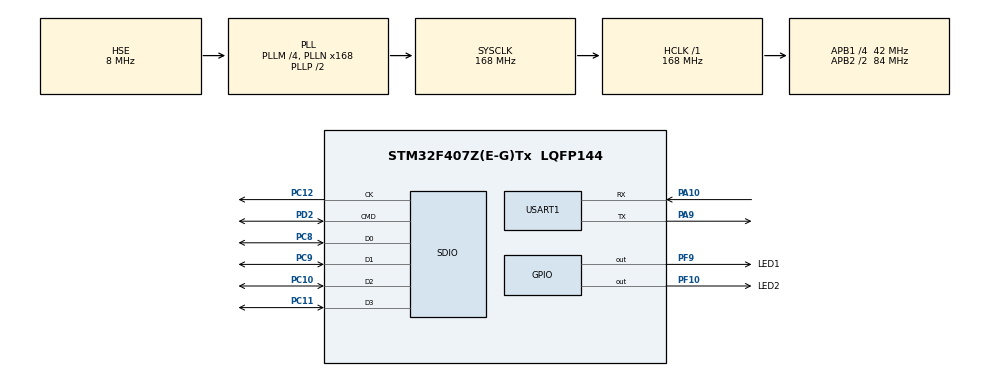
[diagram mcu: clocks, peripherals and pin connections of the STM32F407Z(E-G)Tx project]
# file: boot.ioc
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FATFS.USE_DMA_CODE_SD=0
Mcu.Family=STM32F4
Mcu.Name=STM32F407Z(E-G)Tx
Mcu.Package=LQFP144
NVIC.PriorityGroup=NVIC_PRIORITYGROUP_4
NVIC.USART1_IRQn=true\:0\:0\:false\:false\:true\:true
PA10.Mode=Asynchronous
PA10.Signal=USART1_RX
PA13.Mode=Serial_Wire
PA13.Signal=SYS_JTMS-SWDIO
PA14.Mode=Serial_Wire
PA14.Signal=SYS_JTCK-SWCLK
PA9.Mode=Asynchronous
PA9.Signal=USART1_TX
PC10.Mode=SD_4_bits_Wide_bus
PC10.Signal=SDIO_D2
PC11.Mode=SD_4_bits_Wide_bus
PC11.Signal=SDIO_D3
PC12.Mode=SD_4_bits_Wide_bus
PC12.Signal=SDIO_CK
PC8.Mode=SD_4_bits_Wide_bus
PC8.Signal=SDIO_D0
PC9.Mode=SD_4_bits_Wide_bus
PC9.Signal=SDIO_D1
PD2.Mode=SD_4_bits_Wide_bus
PD2.Signal=SDIO_CMD
PF10.GPIO_Label=LED2
PF10.GPIO_PuPd=GPIO_PULLUP
PF10.PinState=GPIO_PIN_SET
PF10.Signal=GPIO_Output
PF9.GPIO_Label=LED1
PF9.GPIO_PuPd=GPIO_PULLUP
PF9.PinState=GPIO_PIN_SET
PF9.Signal=GPIO_Output
PH0-OSC_IN.Mode=HSE-External-Oscillator
PH0-OSC_IN.Signal=RCC_OSC_IN
PH1-OSC_OUT.Mode=HSE-External-Oscillator
PH1-OSC_OUT.Signal=RCC_OSC_OUT
ProjectManager.HeapSize=0x800
ProjectManager.StackSize=0x800
ProjectManager.TargetToolchain=MDK-ARM V5
RCC.48MHZClocksFreq_Value=48000000
RCC.AHBFreq_Value=168000000
RCC.APB1CLKDivider=RCC_HCLK_DIV4
RCC.APB1Freq_Value=42000000
RCC.APB1TimFreq_Value=84000000
RCC.APB2CLKDivider=RCC_HCLK_DIV2
RCC.APB2Freq_Value=84000000
RCC.APB2TimFreq_Value=168000000
RCC.CortexFreq_Value=168000000
RCC.HCLKFreq_Value=168000000
RCC.HSE_VALUE=8000000
RCC.HSI_VALUE=16000000
RCC.LSE_VALUE=32768
RCC.PLLM=4
RCC.PLLN=168
RCC.PLLQ=7
RCC.PLLSourceVirtual=RCC_PLLSOURCE_HSE
RCC.SYSCLKFreq_VALUE=168000000
RCC.SYSCLKSource=RCC_SYSCLKSOURCE_PLLCLK
RCC.VCOOutputFreq_Value=336000000
USART1.VirtualMode=VM_ASYNC
VP_CRC_VS_CRC.Mode=CRC_Activate
VP_FATFS_VS_SDIO.Mode=SDIO
board=custom

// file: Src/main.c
/**
  ******************************************************************************
  * @file           : main.c
  * @brief          : Main program body
  ******************************************************************************
  * This notice applies to any and all portions of this file
  * that are not between comment pairs USER CODE BEGIN and
  * USER CODE END. Other portions of this file, whether
  * inserted by the user or by software development tools
  * are owned by their respective copyright owners.
  *
  * Copyright (c) 2018 STMicroelectronics International N.V.
  * All rights reserved.
  *
  * Redistribution and use in source and binary forms, with or without
  * modification, are permitted, provided that the following conditions are met:
  *
  * 1. Redistribution of source code must retain the above copyright notice,
  *    this list of conditions and the following disclaimer.
  * 2. Redistributions in binary form must reproduce the above copyright notice,
  *    this list of conditions and the following disclaimer in the documentation
  *    and/or other materials provided with the distribution.
  * 3. Neither the name of STMicroelectronics nor the names of other
  *    contributors to this software may be used to endorse or promote products
  *    derived from this software without specific written permission.
  * 4. This software, including modifications and/or derivative works of this
  *    software, must execute solely and exclusively on microcontroller or
  *    microprocessor devices manufactured by or for STMicroelectronics.
  * 5. Redistribution and use of this software other than as permitted under
  *    this license is void and will automatically terminate your rights under
  *    this license.
  *
  * THIS SOFTWARE IS PROVIDED BY STMICROELECTRONICS AND CONTRIBUTORS "AS IS"
  * AND ANY EXPRESS, IMPLIED OR STATUTORY WARRANTIES, INCLUDING, BUT NOT
  * LIMITED TO, THE IMPLIED WARRANTIES OF MERCHANTABILITY, FITNESS FOR A
  * PARTICULAR PURPOSE AND NON-INFRINGEMENT OF THIRD PARTY INTELLECTUAL PROPERTY
  * RIGHTS ARE DISCLAIMED TO THE FULLEST EXTENT PERMITTED BY LAW. IN NO EVENT
  * SHALL STMICROELECTRONICS OR CONTRIBUTORS BE LIABLE FOR ANY DIRECT, INDIRECT,
  * INCIDENTAL, SPECIAL, EXEMPLARY, OR CONSEQUENTIAL DAMAGES (INCLUDING, BUT NOT
  * LIMITED TO, PROCUREMENT OF SUBSTITUTE GOODS OR SERVICES; LOSS OF USE, DATA,
  * OR PROFITS; OR BUSINESS INTERRUPTION) HOWEVER CAUSED AND ON ANY THEORY OF
  * LIABILITY, WHETHER IN CONTRACT, STRICT LIABILITY, OR TORT (INCLUDING
  * NEGLIGENCE OR OTHERWISE) ARISING IN ANY WAY OUT OF THE USE OF THIS SOFTWARE,
  * EVEN IF ADVISED OF THE POSSIBILITY OF SUCH DAMAGE.
	* aliyun:
  * https://promotion.aliyun.com/ntms/yunparter/invite.html?userCode=qz12zb2f
  ******************************************************************************
  */
#include "main.h"
#include "stm32f4xx_hal.h"
#include "crc.h"
#include "fatfs.h"
#include "sdio.h"
#include "usart.h"
#include "gpio.h"

/* USER CODE BEGIN Includes */
#include "boot.h"
/* USER CODE END Includes */

/* USER CODE BEGIN PV */
/* Private variables ---------------------------------------------------------*/
#define USBD_DFU_APP_DEFAULT_ADD               0x08008000
typedef  void (*pFunction)(void);
pFunction JumpToApplication;
uint32_t JumpAddress;
/* USER CODE END PV */

void SystemClock_Config(void);

/* USER CODE BEGIN PFP */
/* Private function prototypes -----------------------------------------------*/

/* USER CODE END PFP */

/* USER CODE BEGIN 0 */
extern uint8_t SD_STATUS;
/* USER CODE END 0 */

int main(void)
{
  /* USER CODE BEGIN 1 */
	uint32_t temp;
  /* USER CODE END 1 */

  /* MCU Configuration----------------------------------------------------------*/

  /* Reset of all peripherals, Initializes the Flash interface and the Systick. */
  HAL_Init();

  /* Configure the system clock */
  SystemClock_Config();

  /* Initialize all configured peripherals */
  MX_GPIO_Init();
  MX_CRC_Init();
  MX_USART1_UART_Init();
  MX_SDIO_SD_Init();
  MX_FATFS_Init();
  /* USER CODE BEGIN 2 */
	if(SD_STATUS==0)
	{
		boot();
		temp = *(__IO uint32_t*)USBD_DFU_APP_DEFAULT_ADD;
		if(((temp) & 0x2FFC0000 ) == 0x20000000)
		{
			/* Jump to user application */
			JumpAddress = *(__IO uint32_t*) (USBD_DFU_APP_DEFAULT_ADD + 4);
			JumpToApplication = (pFunction) JumpAddress;
			/* Initialize user application's Stack Pointer */
			__set_MSP((*(__IO uint32_t*) USBD_DFU_APP_DEFAULT_ADD ));
			JumpToApplication();
		}
	}

  /* USER CODE END 2 */
	_Log("SD_err");
  /* Infinite loop */
  while (1)
  {

  }

}

void SystemClock_Config(void)
{

  RCC_OscInitTypeDef RCC_OscInitStruct;
  RCC_ClkInitTypeDef RCC_ClkInitStruct;

    /**Configure the main internal regulator output voltage
    */
  __HAL_RCC_PWR_CLK_ENABLE();

  __HAL_PWR_VOLTAGESCALING_CONFIG(PWR_REGULATOR_VOLTAGE_SCALE1);

    /**Initializes the CPU, AHB and APB busses clocks
    */
  RCC_OscInitStruct.OscillatorType = RCC_OSCILLATORTYPE_HSE;
  RCC_OscInitStruct.HSEState = RCC_HSE_ON;
  RCC_OscInitStruct.PLL.PLLState = RCC_PLL_ON;
  RCC_OscInitStruct.PLL.PLLSource = RCC_PLLSOURCE_HSE;
  RCC_OscInitStruct.PLL.PLLM = 4;
  RCC_OscInitStruct.PLL.PLLN = 168;
  RCC_OscInitStruct.PLL.PLLP = RCC_PLLP_DIV2;
  RCC_OscInitStruct.PLL.PLLQ = 7;
  if (HAL_RCC_OscConfig(&RCC_OscInitStruct) != HAL_OK)
  {
    _Error_Handler(__FILE__, __LINE__);
  }

    /**Initializes the CPU, AHB and APB busses clocks
    */
  RCC_ClkInitStruct.ClockType = RCC_CLOCKTYPE_HCLK|RCC_CLOCKTYPE_SYSCLK
                              |RCC_CLOCKTYPE_PCLK1|RCC_CLOCKTYPE_PCLK2;
  RCC_ClkInitStruct.SYSCLKSource = RCC_SYSCLKSOURCE_PLLCLK;
  RCC_ClkInitStruct.AHBCLKDivider = RCC_SYSCLK_DIV1;
  RCC_ClkInitStruct.APB1CLKDivider = RCC_HCLK_DIV4;
  RCC_ClkInitStruct.APB2CLKDivider = RCC_HCLK_DIV2;

  if (HAL_RCC_ClockConfig(&RCC_ClkInitStruct, FLASH_LATENCY_5) != HAL_OK)
  {
    _Error_Handler(__FILE__, __LINE__);
  }

    /**Configure the Systick interrupt time
    */
  HAL_SYSTICK_Config(HAL_RCC_GetHCLKFreq()/1000);

    /**Configure the Systick
    */
  HAL_SYSTICK_CLKSourceConfig(SYSTICK_CLKSOURCE_HCLK);

  /* SysTick_IRQn interrupt configuration */
  HAL_NVIC_SetPriority(SysTick_IRQn, 0, 0);
}

/* USER CODE BEGIN 4 */
#include <stdarg.h>
#include <stdlib.h>
#include <string.h>
static char buffer[1024];
int Ac_pf(char *format,...)
{
	va_list aptr;
	int ret;
	va_start(aptr,format);
	ret = vsprintf(buffer, format, aptr);
  va_end(aptr);
	HAL_UART_Transmit(&huart1,(uint8_t*)buffer,strlen(buffer),0xffff);
  return(ret);
}
/* USER CODE END 4 */

void _Error_Handler(char *file, int line)
{
  /* USER CODE BEGIN Error_Handler_Debug */
	_Log("%s,%d",file,line);

  /* User can add his own implementation to report the HAL error return state */
  while(1)
  {
  }
  /* USER CODE END Error_Handler_Debug */
}

/************************ (C) COPYRIGHT STMicroelectronics *****END OF FILE****/
